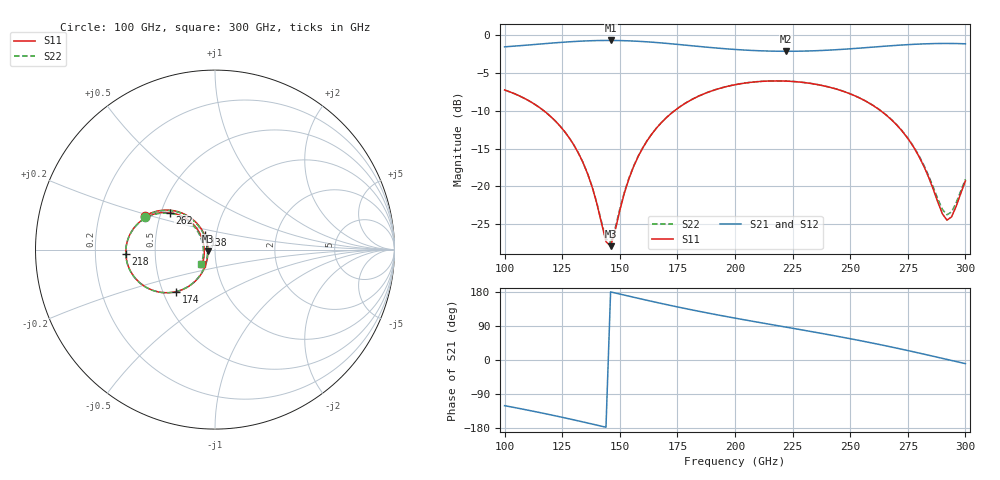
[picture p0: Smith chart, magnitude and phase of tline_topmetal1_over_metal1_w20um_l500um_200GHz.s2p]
#  GHZ S DB R 50
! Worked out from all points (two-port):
!   101 points, 100 GHz to 300 GHz, reference 50 ohm
!   highest |S21| = -0.72 dB at 146 GHz (marker M1); lowest = -2.2 dB at 222 GHz (marker M2)
!   |S21| within 3 dB of the highest: start of sweep to end of sweep
!   lowest |S11| = -27.9 dB at 146 GHz (marker M3), VSWR 1.08, Z = 46.2 - j0.787 ohm
!   |S11| at or under -10 dB: 117 GHz to 173.8 GHz (56.78 GHz wide, 39.1 % of centre); 263.2 GHz to end of sweep
!   |S22| runs from -27.4 to -6.1 dB; largest |S21 - S12| = 9e-14
!   S11 on the Smith chart (normalised r, x): 100 GHz: 0.41, +0.19; 138 GHz: 0.88, +0.14; 174 GHz: 0.59, -0.31; 218 GHz: 0.34, -0.02; 262 GHz: 0.55, +0.25; 300 GHz: 0.86, -0.14
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100  -7.26 154.5  -1.56 -120.6  -1.56 -120.6  -7.26 154.8
120  -10.77 133.7  -1.08 -144.7  -1.08 -144.7  -10.77 134.2
128  -13.56 126.5  -0.91 -155.2  -0.91 -155.2  -13.56 127.2
134  -16.83 123.6  -0.80 -163.4  -0.80 -163.4  -16.81 124.6
138  -20.07 125.8  -0.76 -169.0  -0.76 -169.0  -20.02 127.2
144  -27.28 160.6  -0.72 -177.5  -0.72 -177.5  -26.90 162.3
146  -27.88 -167.8  -0.72 179.7  -0.72 179.7  -27.40 -167.7
152  -20.85 -122.8  -0.76 171.2  -0.76 171.2  -20.72 -123.8
156  -17.36 -119.3  -0.80 165.6  -0.80 165.6  -17.30 -120.0
168  -11.59 -126.7  -1.05 149.2  -1.05 149.2  -11.56 -126.9
174  -9.94 -132.7  -1.21 141.4  -1.21 141.4  -9.92 -132.8
186  -7.84 -145.2  -1.56 126.6  -1.56 126.6  -7.83 -145.2
200  -6.57 -159.5  -1.91 110.5  -1.91 110.5  -6.56 -159.4
218  -6.07 -177.0  -2.14 91.2  -2.14 91.2  -6.06 -176.8
222  -6.09 179.2  -2.15 86.9  -2.15 86.9  -6.08 179.4
234  -6.46 167.7  -2.09 74.1  -2.09 74.1  -6.45 168.1
262  -9.73 140.9  -1.55 41.7  -1.55 41.7  -9.71 141.7
268  -11.22 135.8  -1.42 34.1  -1.42 34.1  -11.18 136.8
280  -16.12 130.7  -1.20 18.2  -1.20 18.2  -16.01 132.5
292  -24.44 178.6  -1.12 1.5  -1.12 1.5  -23.74 179.1
294  -24.02 -161.8  -1.13 -1.3  -1.13 -1.3  -23.37 -163.0
300  -19.28 -131.3  -1.17 -9.6  -1.17 -9.6  -19.05 -133.3
